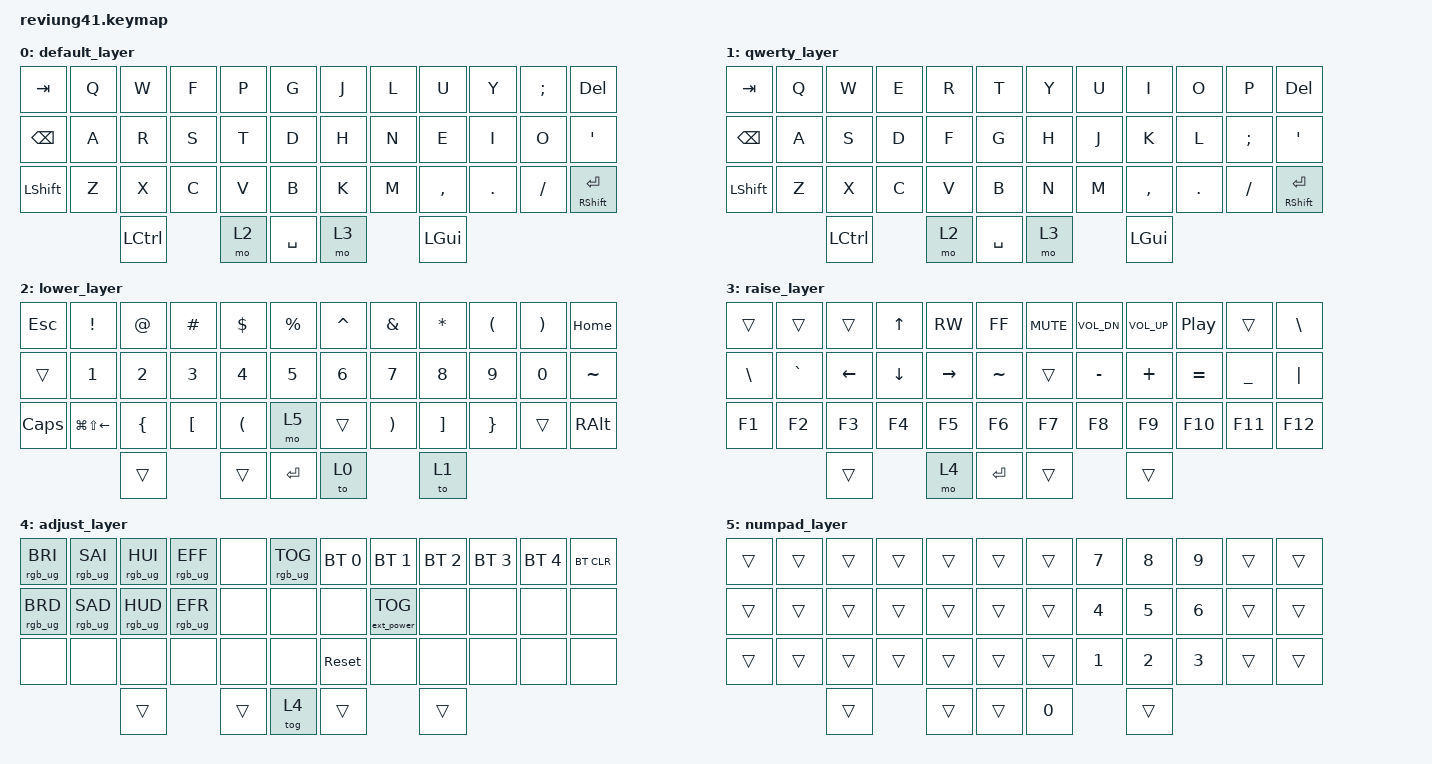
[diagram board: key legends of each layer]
/*
 * Copyright (c) 2020 The ZMK Contributors
 *
 * SPDX-License-Identifier: MIT
 */

#include <behaviors.dtsi>
#include <dt-bindings/zmk/keys.h>
#include <dt-bindings/zmk/bt.h>
#include <dt-bindings/zmk/rgb.h>
#include <dt-bindings/zmk/ext_power.h>

/ {
        keymap {
                compatible = "zmk,keymap";

                default_layer {
// -------------------------------------------------------------------------------------
// |  TAB |  Q  |  W  |  F  |  P  |  G  |   |  J  |  L   |  U  |  Y  |  ;  |   DEL     |
// | BKSP |  A  |  R  |  S  |  T  |  D  |   |  H  |  N   |  E  |  I  |  O  |    '      |
// | SHFT |  Z  |  X  |  C  |  V  |  B  |   |  K  |  M   |  ,  |  .  |  /  | SHFT(ENT) |
//                        | CTRL | LWR | SPC | RSE  | WIN |
                        bindings = <
   &kp TAB   &kp Q &kp W &kp F &kp P &kp G   &kp J &kp L  &kp U     &kp Y   &kp SEMI &kp DEL
   &kp BSPC  &kp A &kp R &kp S &kp T &kp D   &kp H &kp N  &kp E     &kp I   &kp O    &kp SQT
   &kp LSHFT &kp Z &kp X &kp C &kp V &kp B   &kp K &kp M  &kp COMMA &kp DOT &kp FSLH &mt RSHFT RET
                     &kp LCTRL  &mo 2 &kp SPACE &mo 3  &kp LGUI
                        >;
                };

                qwerty_layer {
// -------------------------------------------------------------------------------------
// |  TAB |  Q  |  W  |  E  |  R  |  T  |   |  Y  |  U   |  I  |  O  |  P  |   DEL     |
// | BKSP |  A  |  S  |  D  |  F  |  G  |   |  H  |  J   |  K  |  L  |  ;  |    '      |
// | SHFT |  Z  |  X  |  C  |  V  |  B  |   |  N  |  M   |  ,  |  .  |  /  | SHFT(ENT) |
//                        | CTRL | LWR | SPC | RSE  | WIN |
                        bindings = <
   &kp TAB   &kp Q &kp W &kp E &kp R &kp T   &kp Y &kp U  &kp I     &kp O   &kp P    &kp DEL
   &kp BSPC  &kp A &kp S &kp D &kp F &kp G   &kp H &kp J  &kp K     &kp L   &kp SEMI &kp SQT
   &kp LSHFT &kp Z &kp X &kp C &kp V &kp B   &kp N &kp M  &kp COMMA &kp DOT &kp FSLH &mt RSHFT RET
                    &kp LCTRL  &mo 2 &kp SPACE &mo 3  &kp LGUI
                        >;
                };

                lower_layer {
// ------------------------------------------------------------------------------------
// | ESC  |  !              |  @  |  #  |  $  |  %  |   |  ^  |  &  |  *  |  (  |  )  |      HOME   |
// |      |  1              |  2  |  3  |  4  |  5  |   |  6  |  7  |  8  |  9  |  0  |       ~     |
// | CAPS | WIN(SHFT(LEFT)) |  {  |  [  |  (  | NMPD|   |     |  )  |  ]  |  }  |     |     ALT     |
//                                     |     |     | RET | CLMK | QWERTY |
                        bindings = <
   &kp ESC   &kp EXCL         &kp AT      &kp HASH &kp DLLR &kp PRCNT      &kp CARET &kp AMPS &kp ASTRK &kp LPAR  &kp RPAR  &kp HOME
   &trans    &kp N1           &kp N2      &kp N3   &kp N4   &kp N5         &kp N6    &kp N7   &kp N8    &kp N9    &kp N0    &kp TILDE
   &kp CLCK  &kp LG(LS(LEFT)) &kp LBRC    &kp LBKT &kp LPAR &mo 5          &trans    &kp RPAR &kp RBKT  &kp RBRC  &trans    &kp RALT
                                         &trans      &trans       &kp RET        &to 0       &to 1
                        >;
                };

                raise_layer {
// ----------------------------------------------------------------------------
// |     |     |     |  UP |  RW |  FF |   | MUTE | VOLDWN |  VOLUP |  PP |     |  \  |
// |  \  |  `  | LFT | DWN | RGT |  ~  |   |      |    -   |   +    |  =  |  _  | '|' |
// |  F1 | F2  | F3  | F4  | F5  |  F6 |   |  F7  |   F8   |   F9   | F10 | F11 | F12 |
//                        |     | ADJ | RET |    |     |
                        bindings = <
   &trans   &trans    &trans    &kp UP    &kp C_RW  &kp C_FF      &kp C_MUTE &kp C_VOL_DN &kp C_VOL_UP &kp C_PP  &trans    &kp BSLH
   &kp BSLH &kp GRAVE &kp LEFT  &kp DOWN  &kp RIGHT &kp TILDE     &trans     &kp MINUS    &kp PLUS     &kp EQUAL &kp UNDER &kp PIPE
   &kp F1   &kp F2    &kp F3    &kp F4    &kp F5    &kp F6        &kp F7     &kp F8       &kp F9       &kp F10   &kp F11   &kp F12
                                  &trans      &mo 4       &kp RET         &trans      &trans
                        >;
                };

                adjust_layer {
// -----------------------------------------------------------------------------------------
// | RGB BRI+ | RGB SAT+ | RGB HUE+ | RGB ANI+ |    | RGB TOG |   |  BT1  | BT2 | BT3 | BT4 | BT5 | BT CLR |
// | RGB BRI- | RGB SAT- | RGB HUE- | RGB ANI- |    |         |   |  PWR  |     |     |     |     |        |
// |          |          |          |          |    |         |   | RESET |     |     |     |     |        |
//                                              |     |     |     |     |     |
                        bindings = <
   &rgb_ug RGB_BRI &rgb_ug RGB_SAI &rgb_ug RGB_HUI &rgb_ug RGB_EFF &none &rgb_ug RGB_TOG    &bt BT_SEL 0 &bt BT_SEL 1      &bt BT_SEL 2 &bt BT_SEL 3 &bt BT_SEL 4 &bt BT_CLR
   &rgb_ug RGB_BRD &rgb_ug RGB_SAD &rgb_ug RGB_HUD &rgb_ug RGB_EFR &none &none              &none        &ext_power EP_TOG &none        &none        &none        &none
   &none           &none           &none           &none           &none &none              &sys_reset   &none             &none        &none        &none        &none
                                                        &trans      &trans       &tog 4        &trans      &trans
                        >;
                };

                numpad_layer {
// ----------------------------------------------------------------------------
// |     |     |     |     |     |     |   |      |   7  |   8  |  9  |     |     |
// |     |     |     |     |     |     |   |      |   4  |   5  |  6  |     |     |
// |     |     |     |     |     |     |   |      |   1  |   2  |  3  |     |     |
//                        |     |     |     |  0  |     |
                        bindings = <
   &trans   &trans   &trans   &trans   &trans   &trans      &trans   &kp N7   &kp N8   &kp N9   &trans   &trans
   &trans   &trans   &trans   &trans   &trans   &trans      &trans   &kp N4   &kp N5   &kp N6   &trans   &trans
   &trans   &trans   &trans   &trans   &trans   &trans      &trans   &kp N1   &kp N2   &kp N3   &trans   &trans
                            &trans      &trans       &trans         &kp N0      &trans
                        >;
                };
        };
};
